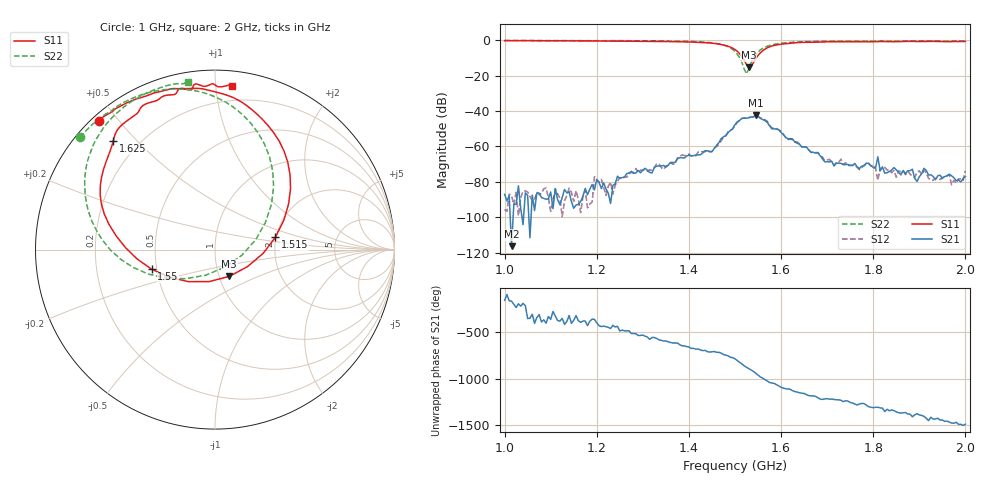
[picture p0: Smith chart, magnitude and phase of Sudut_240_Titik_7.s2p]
# Hz S RI R 50
! CMT, C1220, 16058040, 17.2.0/1
! Date: 14/08/2018 12:15:34
! Data: Format (Calibration Info)
! Freq  S11: Re/Im (F2)  S21: Re/Im (F2)  S12: Re/Im (F2)  S22: Re/Im (F2)
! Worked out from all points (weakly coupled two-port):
!   201 points, 1 GHz to 2 GHz, reference 50 ohm
!   highest |S21| = -42.51 dB at 1.545 GHz (marker M1); lowest = -116.3 dB at 1.015 GHz (marker M2)
!   lowest |S11| = -15.4 dB at 1.53 GHz (marker M3), VSWR 1.41, Z = 55.9 - j17.2 ohm
!   |S11| at or under -10 dB: 1.517 GHz to 1.546 GHz (29.68 MHz wide, 1.94 % of centre)
!   |S22| runs from -19.0 to -0.2 dB; largest |S21 - S12| = 0.00053
!   S11 on the Smith chart (normalised r, x): 1 GHz: 0.02, +0.44; 1.515 GHz: 1.98, +0.31; 1.55 GHz: 0.47, -0.12; 1.625 GHz: 0.11, +0.43; 2 GHz: 0.09, +1.11
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1e9  -0.6479 0.7144  -4.03e-05 -1.9e-05  1.58e-05 -4.97e-06  -0.7537 0.6249
1.015e9  -0.6312 0.7278  -1.47e-06 -4.24e-07  3.74e-05 -1.8e-05  -0.7433 0.6364
1.17e9  -0.4792 0.8227  3.77e-05 -1.23e-05  1.35e-05 -3.71e-05  -0.6168 0.7507
1.335e9  -0.2216 0.8968  -0.000213 0.000184  -0.000184 0.000269  -0.4007 0.8653
1.45e9  0.1757 0.803  0.000701 0.000133  0.00071 7.12e-05  0.0233 0.8403
1.5e9  0.4209 0.3416  0.00169 -0.00375  0.00157 -0.00355  0.3266 0.3503
1.515e9  0.3363 0.0685  -0.00311 -0.00532  -0.00301 -0.00544  0.2269 0.0551
1.53e9  0.0796 -0.1492  -0.00638 -0.00115  -0.00643 -0.00114  -0.0534 -0.143
1.545e9  -0.2554 -0.154  -0.00566 0.00491  -0.00565 0.0047  -0.3705 -0.1367
1.55e9  -0.3525 -0.1096  -0.00324 0.00622  -0.0035 0.00606  -0.456 -0.0993
1.625e9  -0.5675 0.603  0.00106 -0.00123  0.00105 -0.00112  -0.7016 0.5204
1.67e9  -0.4478 0.7472  -0.000168 -0.000658  -0.000135 -0.000663  -0.6259 0.672
1.715e9  -0.365 0.8186  -0.000222 -0.000169  -0.000238 -0.000176  -0.551 0.7572
1.8e9  -0.2081 0.8855  -0.000156 0.000199  -0.000139 0.000265  -0.4246 0.8491
1.81e9  -0.1962 0.8961  -0.000346 0.000374  8.54e-05 6.81e-05  -0.4108 0.8573
1.815e9  -0.1875 0.8981  -0.000119 0.000165  -6.89e-05 0.000235  -0.4039 0.8608
1.835e9  -0.1445 0.8903  -1.45e-05 0.000195  5.95e-05 0.000209  -0.3769 0.8738
1.885e9  -0.0874 0.918  0.000195 0.000115  9.86e-05 0.000104  -0.3063 0.9017
1.895e9  -0.0666 0.9107  4.63e-05 9.22e-05  0.000109 0.000151  -0.2922 0.9063
1.91e9  -0.0387 0.914  0.000197 0.000139  0.00019 8.18e-05  -0.2723 0.9127
1.97e9  0.0516 0.91  0.000118 -9.12e-05  5.5e-05 -6.21e-05  -0.1847 0.9241
2e9  0.0953 0.9137  9.05e-05 -0.000108  6.78e-05 -0.000195  -0.1529 0.9328
